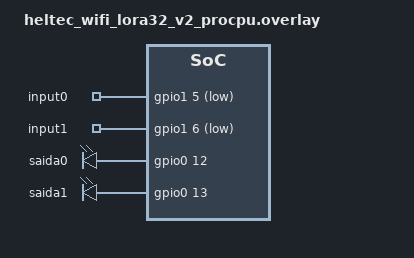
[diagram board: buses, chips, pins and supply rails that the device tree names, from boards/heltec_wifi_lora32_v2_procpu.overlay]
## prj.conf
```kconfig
# CONFIG_SPI=y
CONFIG_GPIO=y
CONFIG_SPI=y
CONFIG_LORA=y
CONFIG_LOG=y
CONFIG_PRINTK=y

CONFIG_ZBUS=y
CONFIG_ZBUS_MSG_SUBSCRIBER=y

CONFIG_CRC=y

CONFIG_SHELL=y

CONFIG_GPIO=y
CONFIG_BUTTON=y

CONFIG_LOG_DEFAULT_LEVEL=3

# CONFIG_BLINK=y
#
# CONFIG_LORA_TCP=y
# CONFIG_LORA_TCP_SHELL=y
# CONFIG_LORA_TCP_DEVICE_MAX=5


# CONFIG_MODULES=y
```

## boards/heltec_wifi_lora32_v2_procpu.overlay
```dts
/ {
	aliases {
		input0 = &input0;
		input1 = &input1;

        saida0 = &saida0;
        saida1 = &saida1;
	};

	buttons {
		compatible = "gpio-keys";

		input0: input_0 {
            gpios = <&gpio1 5 (GPIO_ACTIVE_LOW)>;
		};

		input1: input_1 {
			gpios = <&gpio1 6 (GPIO_ACTIVE_LOW)>;
		};
	};

    leds {
        compatible = "gpio-leds";


		saida0: saida_0 {
            gpios = <&gpio0 12 (GPIO_ACTIVE_HIGH)>;
		};

		saida1: saida_1 {
			gpios = <&gpio0 13 (GPIO_ACTIVE_HIGH)>;
		};

    };
};
```

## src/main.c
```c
#include "zephyr/drivers/gpio.h"
#include <zephyr/logging/log.h>
#include <zephyr/kernel.h>

/* #define DEFAULT_RADIO_NODE DT_ALIAS(lora0) */

LOG_MODULE_REGISTER(main);

#include <zephyr/drivers/lora.h>

int main(void)
{
	LOG_WRN(" --- SYSTEM INIT --- ");

	while (true) {
		k_msleep(1000);
	}
}
```
